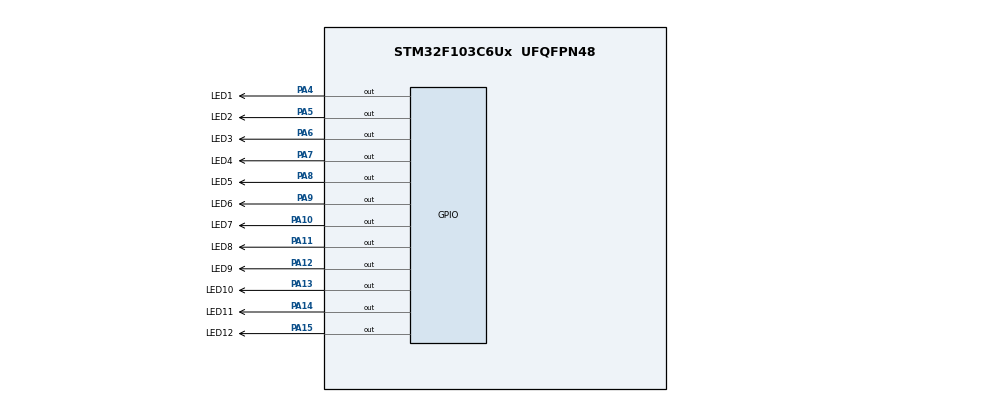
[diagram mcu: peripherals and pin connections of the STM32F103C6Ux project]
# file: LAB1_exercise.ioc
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Mcu.Family=STM32F1
Mcu.Name=STM32F103C6Ux
Mcu.Package=UFQFPN48
NVIC.PriorityGroup=NVIC_PRIORITYGROUP_4
PA10.GPIO_Label=LED7
PA10.Signal=GPIO_Output
PA11.GPIO_Label=LED8
PA11.Signal=GPIO_Output
PA12.GPIO_Label=LED9
PA12.Signal=GPIO_Output
PA13.GPIO_Label=LED10
PA13.Signal=GPIO_Output
PA14.GPIO_Label=LED11
PA14.Signal=GPIO_Output
PA15.GPIO_Label=LED12
PA15.Signal=GPIO_Output
PA4.GPIO_Label=LED1
PA4.Signal=GPIO_Output
PA5.GPIO_Label=LED2
PA5.Signal=GPIO_Output
PA6.GPIO_Label=LED3
PA6.Signal=GPIO_Output
PA7.GPIO_Label=LED4
PA7.Signal=GPIO_Output
PA8.GPIO_Label=LED5
PA8.Signal=GPIO_Output
PA9.GPIO_Label=LED6
PA9.Signal=GPIO_Output
ProjectManager.HeapSize=0x200
ProjectManager.StackSize=0x400
ProjectManager.TargetToolchain=STM32CubeIDE
RCC.APB1Freq_Value=8000000
RCC.APB2Freq_Value=8000000
VP_SYS_VS_ND.Mode=No_Debug
board=custom

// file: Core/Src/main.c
/* USER CODE BEGIN Header */
/**
  ******************************************************************************
  * @file           : main.c
  * @brief          : Main program body - Simplified Analog Clock Implementation
  ******************************************************************************
  * @attention
  *
  * <h2><center>&copy; Copyright (c) 2025 STMicroelectronics.
  * All rights reserved.</center></h2>
  *
  * This software component is licensed by ST under BSD 3-Clause license,
  * the "License"; You may not use this file except in compliance with the
  * License. You may obtain a copy of the License at:
  *                        opensource.org/licenses/BSD-3-Clause
  *
  ******************************************************************************
  */
/* USER CODE END Header */
#include "main.h"

/* USER CODE BEGIN Includes */

// Function prototypes
void clearAllClock(void);
void setNumberOnClock(int num);
void clearNumberOnClock(int num);

// Exercise 7: Clear all LEDs
void clearAllClock(void)
{
    HAL_GPIO_WritePin(GPIOA, LED1_Pin|LED2_Pin|LED3_Pin|LED4_Pin
                            |LED5_Pin|LED6_Pin|LED7_Pin|LED8_Pin
                            |LED9_Pin|LED10_Pin|LED11_Pin|LED12_Pin, GPIO_PIN_SET);
}

// Exercise 8: Set specific LED based on number (0-11)
void setNumberOnClock(int num)
{
    switch(num)
    {
        case 0:  HAL_GPIO_WritePin(LED1_GPIO_Port, LED1_Pin, GPIO_PIN_RESET);   break;  // 12 o'clock position
        case 1:  HAL_GPIO_WritePin(LED2_GPIO_Port, LED2_Pin, GPIO_PIN_RESET);   break;  // 1 o'clock position
        case 2:  HAL_GPIO_WritePin(LED3_GPIO_Port, LED3_Pin, GPIO_PIN_RESET);   break;  // 2 o'clock position
        case 3:  HAL_GPIO_WritePin(LED4_GPIO_Port, LED4_Pin, GPIO_PIN_RESET);   break;  // 3 o'clock position
        case 4:  HAL_GPIO_WritePin(LED5_GPIO_Port, LED5_Pin, GPIO_PIN_RESET);   break;  // 4 o'clock position
        case 5:  HAL_GPIO_WritePin(LED6_GPIO_Port, LED6_Pin, GPIO_PIN_RESET);   break;  // 5 o'clock position
        case 6:  HAL_GPIO_WritePin(LED7_GPIO_Port, LED7_Pin, GPIO_PIN_RESET);   break;  // 6 o'clock position
        case 7:  HAL_GPIO_WritePin(LED8_GPIO_Port, LED8_Pin, GPIO_PIN_RESET);   break;  // 7 o'clock position
        case 8:  HAL_GPIO_WritePin(LED9_GPIO_Port, LED9_Pin, GPIO_PIN_RESET);   break;  // 8 o'clock position
        case 9:  HAL_GPIO_WritePin(LED10_GPIO_Port, LED10_Pin, GPIO_PIN_RESET); break;  // 9 o'clock position
        case 10: HAL_GPIO_WritePin(LED11_GPIO_Port, LED11_Pin, GPIO_PIN_RESET); break;  // 10 o'clock position
        case 11: HAL_GPIO_WritePin(LED12_GPIO_Port, LED12_Pin, GPIO_PIN_RESET); break;  // 11 o'clock position
        default: break;
    }
}

// Exercise 9: Clear specific LED based on number (0-11)
void clearNumberOnClock(int num)
{
    switch(num)
    {
        case 0:  HAL_GPIO_WritePin(LED1_GPIO_Port, LED1_Pin, GPIO_PIN_SET);   break;
        case 1:  HAL_GPIO_WritePin(LED2_GPIO_Port, LED2_Pin, GPIO_PIN_SET);   break;
        case 2:  HAL_GPIO_WritePin(LED3_GPIO_Port, LED3_Pin, GPIO_PIN_SET);   break;
        case 3:  HAL_GPIO_WritePin(LED4_GPIO_Port, LED4_Pin, GPIO_PIN_SET);   break;
        case 4:  HAL_GPIO_WritePin(LED5_GPIO_Port, LED5_Pin, GPIO_PIN_SET);   break;
        case 5:  HAL_GPIO_WritePin(LED6_GPIO_Port, LED6_Pin, GPIO_PIN_SET);   break;
        case 6:  HAL_GPIO_WritePin(LED7_GPIO_Port, LED7_Pin, GPIO_PIN_SET);   break;
        case 7:  HAL_GPIO_WritePin(LED8_GPIO_Port, LED8_Pin, GPIO_PIN_SET);   break;
        case 8:  HAL_GPIO_WritePin(LED9_GPIO_Port, LED9_Pin, GPIO_PIN_SET);   break;
        case 9:  HAL_GPIO_WritePin(LED10_GPIO_Port, LED10_Pin, GPIO_PIN_SET); break;
        case 10: HAL_GPIO_WritePin(LED11_GPIO_Port, LED11_Pin, GPIO_PIN_SET); break;
        case 11: HAL_GPIO_WritePin(LED12_GPIO_Port, LED12_Pin, GPIO_PIN_SET); break;
        default: break;
    }
}

/* USER CODE END Includes */

void SystemClock_Config(void);
static void MX_GPIO_Init(void);

/* USER CODE BEGIN 0 */

// Simplified clock system variables
typedef struct {
    uint8_t hours;
    uint8_t minutes;
    uint8_t seconds;
} ClockTime_t;

// Initialize clock
ClockTime_t clock_time = {12, 00, 00};

/**
 * @brief Calculate hour hand position with smooth movement
 * @param hour: Current hour (1-12)
 * @param minute: Current minute (0-59) for smooth hour hand movement
 * @retval LED position (0-11) where 0=1 o'clock, 11=12 o'clock
 */
uint8_t getHourHandPosition(uint8_t hour, uint8_t minute) {
    // Convert to 12-hour format
    uint8_t h = (hour == 0) ? 12 : hour;
    if (h > 12) h -= 12;

    // Calculate position: 1 o'clock = 0, 2 o'clock = 1, ..., 12 o'clock = 11
    uint8_t position = (h - 1) % 12;  // h=1->0, h=2->1, ..., h=12->11

    return position;
}

/**
 * @brief Calculate minute hand position
 * @param minute: Current minute (0-59)
 * @retval LED position (0-11) where 0=1 o'clock, 11=12 o'clock
 */
uint8_t getMinuteHandPosition(uint8_t minute) {
    // Map 60 minutes to 12 positions
    // 0-4 min -> 12 o'clock (pos 11), 5-9 min -> 1 o'clock (pos 0), etc.
    uint8_t temp_pos = (minute * 12) / 60;  // 0-11

    // Adjust so that 0 minutes points to 12 o'clock (pos 11)
    if (temp_pos == 0) {
        return 11;  // 0-4 minutes -> 12 o'clock position (LED12)
    } else {
        return temp_pos - 1;  // 5-9 min -> pos 0 (1 o'clock), etc.
    }
}

/**
 * @brief Calculate second hand position
 * @param second: Current second (0-59)
 * @retval LED position (0-11) where 0=1 o'clock, 11=12 o'clock
 */
uint8_t getSecondHandPosition(uint8_t second) {
    // Map 60 seconds to 12 positions
    // 0-4 sec -> 12 o'clock (pos 11), 5-9 sec -> 1 o'clock (pos 0), etc.
    uint8_t temp_pos = (second * 12) / 60;  // 0-11

    // Adjust so that 0 seconds points to 12 o'clock (pos 11)
    if (temp_pos == 0) {
        return 11;  // 0-4 seconds -> 12 o'clock position (LED12)
    } else {
        return temp_pos - 1;  // 5-9 sec -> pos 0 (1 o'clock), etc.
    }
}

/**
 * @brief Display the analog clock on LEDs
 * Shows hour, minute, and second hands simultaneously
 */
void displayAnalogClock(void) {
    // Clear all LEDs first
    clearAllClock();
    HAL_Delay(1);
    // Calculate hand positions
    uint8_t hour_pos = getHourHandPosition(clock_time.hours, clock_time.minutes);
    uint8_t minute_pos = getMinuteHandPosition(clock_time.minutes);
    uint8_t second_pos = getSecondHandPosition(clock_time.seconds);

    // Light up the LEDs for each hand
    setNumberOnClock(hour_pos);    // Hour hand (moves slowly)
    setNumberOnClock(minute_pos);  // Minute hand (moves every 5 minutes)
    setNumberOnClock(second_pos);  // Second hand (moves every 5 seconds)
}

/**
 * @brief Update the clock time (increment by 1 second)
 */
void updateClockTime(void) {
    clock_time.seconds++;

    if (clock_time.seconds >= 60) {
        clock_time.seconds = 0;
        clock_time.minutes++;

        if (clock_time.minutes >= 60) {
            clock_time.minutes = 0;
            clock_time.hours++;

            if (clock_time.hours > 12) {
                clock_time.hours = 1;  // 12-hour format
            }
        }
    }
}

/**
 * @brief Set the clock time manually
 * @param hours: Hour (1-12)
 * @param minutes: Minutes (0-59)
 * @param seconds: Seconds (0-59)
 */
void setClockTime(uint8_t hours, uint8_t minutes, uint8_t seconds) {
    clock_time.hours = (hours > 12) ? (hours - 12) : hours;
    if (clock_time.hours == 0) clock_time.hours = 12;  // Handle 0 -> 12

    clock_time.minutes = (minutes < 60) ? minutes : 0;
    clock_time.seconds = (seconds < 60) ? seconds : 0;
}

/* USER CODE END 0 */

int main(void)
{

  /* MCU Configuration--------------------------------------------------------*/

  /* Reset of all peripherals, Initializes the Flash interface and the Systick. */
  HAL_Init();

  /* Configure the system clock */
  SystemClock_Config();

  /* Initialize all configured peripherals */
  MX_GPIO_Init();

  /* USER CODE BEGIN 2 */

  // Exercise 10: Initialize the analog clock system
  setClockTime(8, 30, 59);

  // Display initial clock state
//  displayAnalogClock();

  /* USER CODE END 2 */

  /* Infinite loop */
  while (1)
  {

    // Exercise 10: Simple analog clock loop
    // Update time every 1 second
    updateClockTime();        // Increment time by 1 second
    displayAnalogClock();     // Update LED display
    HAL_Delay(100);         // Wait 1 second

  }
}

void SystemClock_Config(void)
{
  RCC_OscInitTypeDef RCC_OscInitStruct = {0};
  RCC_ClkInitTypeDef RCC_ClkInitStruct = {0};

  /** Initializes the RCC Oscillators according to the specified parameters
  * in the RCC_OscInitStructure.
  */
  RCC_OscInitStruct.OscillatorType = RCC_OSCILLATORTYPE_HSI;
  RCC_OscInitStruct.HSIState = RCC_HSI_ON;
  RCC_OscInitStruct.HSICalibrationValue = RCC_HSICALIBRATION_DEFAULT;
  RCC_OscInitStruct.PLL.PLLState = RCC_PLL_NONE;
  if (HAL_RCC_OscConfig(&RCC_OscInitStruct) != HAL_OK)
  {
    Error_Handler();
  }
  /** Initializes the CPU, AHB and APB buses clocks
  */
  RCC_ClkInitStruct.ClockType = RCC_CLOCKTYPE_HCLK|RCC_CLOCKTYPE_SYSCLK
                              |RCC_CLOCKTYPE_PCLK1|RCC_CLOCKTYPE_PCLK2;
  RCC_ClkInitStruct.SYSCLKSource = RCC_SYSCLKSOURCE_HSI;
  RCC_ClkInitStruct.AHBCLKDivider = RCC_SYSCLK_DIV1;
  RCC_ClkInitStruct.APB1CLKDivider = RCC_HCLK_DIV1;
  RCC_ClkInitStruct.APB2CLKDivider = RCC_HCLK_DIV1;

  if (HAL_RCC_ClockConfig(&RCC_ClkInitStruct, FLASH_LATENCY_0) != HAL_OK)
  {
    Error_Handler();
  }
}

static void MX_GPIO_Init(void)
{
  GPIO_InitTypeDef GPIO_InitStruct = {0};

  /* GPIO Ports Clock Enable */
  __HAL_RCC_GPIOA_CLK_ENABLE();

  /*Configure GPIO pin Output Level - SET for active low LEDs (turn OFF initially) */
  HAL_GPIO_WritePin(GPIOA, LED1_Pin|LED2_Pin|LED3_Pin|LED4_Pin
                          |LED5_Pin|LED6_Pin|LED7_Pin|LED8_Pin
                          |LED9_Pin|LED10_Pin|LED11_Pin|LED12_Pin, GPIO_PIN_SET);

  /*Configure GPIO pins : LED1_Pin LED2_Pin LED3_Pin LED4_Pin
                           LED5_Pin LED6_Pin LED7_Pin LED8_Pin
                           LED9_Pin LED10_Pin LED11_Pin LED12_Pin */
  GPIO_InitStruct.Pin = LED1_Pin|LED2_Pin|LED3_Pin|LED4_Pin
                          |LED5_Pin|LED6_Pin|LED7_Pin|LED8_Pin
                          |LED9_Pin|LED10_Pin|LED11_Pin|LED12_Pin;
  GPIO_InitStruct.Mode = GPIO_MODE_OUTPUT_PP;
  GPIO_InitStruct.Pull = GPIO_NOPULL;
  GPIO_InitStruct.Speed = GPIO_SPEED_FREQ_LOW;
  HAL_GPIO_Init(GPIOA, &GPIO_InitStruct);
}

void testAllLEDs(void) {
    for (int i = 0; i < 12; i++) {
        clearAllClock();
        setNumberOnClock(i);
        HAL_Delay(500);
    }
    clearAllClock();
}

/* USER CODE END 4 */

void Error_Handler(void)
{
  __disable_irq();
  while (1)
  {
  }
}

/************************ (C) COPYRIGHT STMicroelectronics *****END OF FILE****/
